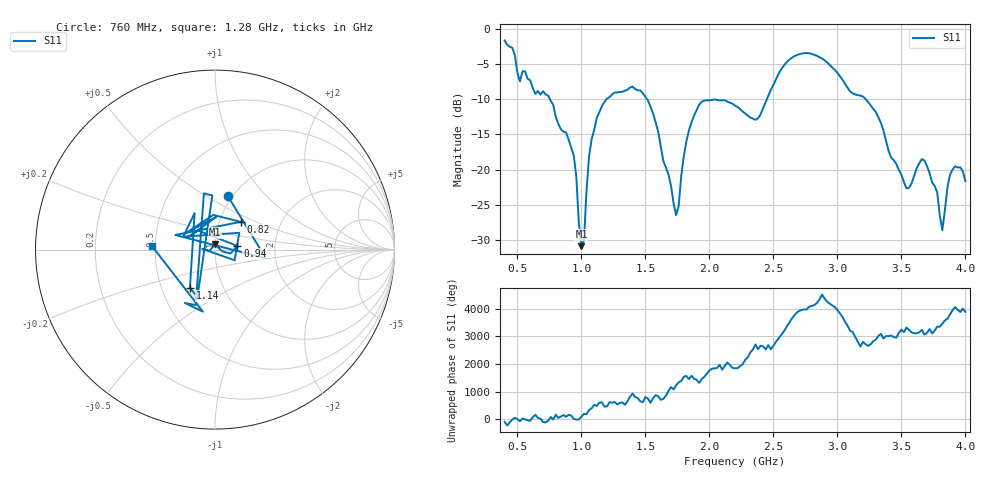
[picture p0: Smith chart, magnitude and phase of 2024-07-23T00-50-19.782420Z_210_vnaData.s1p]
!Created with skrf (http://scikit-rf.org).
# Hz S RI R 50.0
!freq ReS11 ImS11
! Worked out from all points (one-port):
!   181 points, 400 MHz to 4 GHz, reference 50 ohm
!   lowest |S11| = -30.9 dB at 1 GHz (marker M1), VSWR 1.06, Z = 49.9 + j2.86 ohm
!   |S11| at or under -10 dB: 753.8 MHz to 1.197 GHz (442.8 MHz wide, 45.4 % of centre); 1.512 GHz to 2.449 GHz (936.9 MHz wide, 47.3 % of centre); 3.221 GHz to end of sweep
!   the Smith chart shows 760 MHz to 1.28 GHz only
!   S11 on the Smith chart (normalised r, x): 760 MHz: 0.95, +0.63; 820 MHz: 1.26, +0.41; 940 MHz: 1.28, +0.05; 1.14 GHz: 0.70, -0.32; 1.28 GHz: 0.48, +0.02
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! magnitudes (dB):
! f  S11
! 400 MHz  -1.7
! 520 MHz  -7.5
! 760 MHz  -10.2
! 820 MHz  -13.5
! 860 MHz  -14.6
! 940 MHz  -18.0
! 1 GHz  -30.9
! 1.02 GHz  -30.0
! 1.06 GHz  -18.1
! 1.14 GHz  -11.9
! 1.28 GHz  -9.0
! 1.3 GHz  -9.0
! 1.52 GHz  -10.2
! 1.74 GHz  -26.5
! 1.76 GHz  -25.2
! 1.82 GHz  -16.0
! 1.92 GHz  -10.8
! 2.2 GHz  -10.9
! 2.38 GHz  -12.7
! 2.66 GHz  -3.9
! 3.1 GHz  -8.9
! 3.3 GHz  -11.8
! 3.56 GHz  -22.6
! 3.68 GHz  -18.7
! 3.78 GHz  -23.3
! 3.82 GHz  -28.6
! 3.88 GHz  -20.7
! 4 GHz  -21.6
